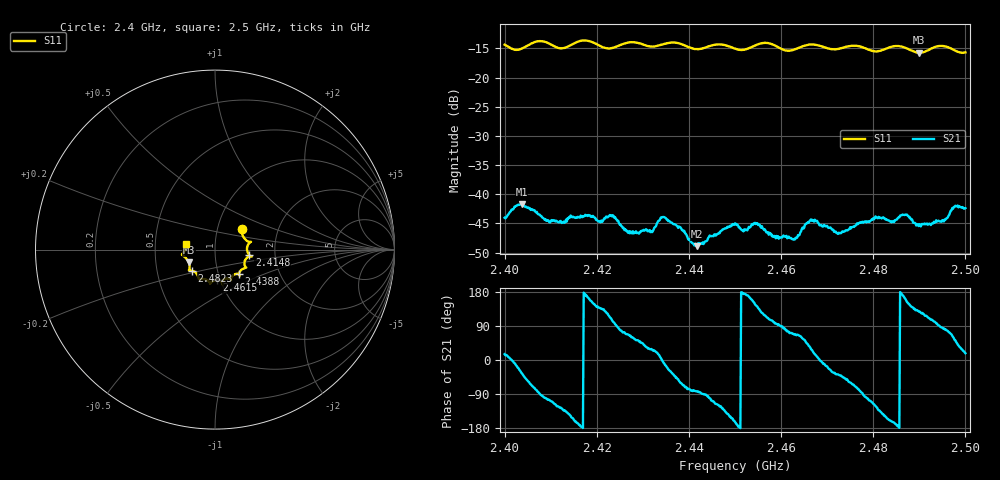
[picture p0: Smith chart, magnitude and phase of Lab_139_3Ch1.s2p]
# Hz S RI R 50
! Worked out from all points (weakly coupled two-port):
!   601 points, 2.4 GHz to 2.5 GHz, reference 50 ohm
!   highest |S21| = -41.70 dB at 2.4037 GHz (marker M1); lowest = -48.9 dB at 2.4417 GHz (marker M2)
!   lowest |S11| = -15.7 dB at 2.49 GHz (marker M3), VSWR 1.39, Z = 36.8 - j5.3 ohm
!   |S11| at or under -10 dB: start of sweep to end of sweep
!   S12 and S22 are empty: the file has one direction only
!   S11 on the Smith chart (normalised r, x): 2.4 GHz: 1.31, +0.32; 2.4148 GHz: 1.47, -0.10; 2.4388 GHz: 1.25, -0.35; 2.4615 GHz: 0.97, -0.34; 2.4823 GHz: 0.75, -0.18; 2.5 GHz: 0.72, +0.04
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2.4e9  0.1515 0.1169  0.00608 0.00166  0 0  0 0
2.403667e9  0.1667 0.0593  0.0068 -0.00462  0 0  0 0
2.4095e9  0.1932 0.0386  -0.00147 -0.0058  0 0  0 0
2.414833e9  0.1914 -0.0314  -0.00578 -0.00283  0 0  0 0
2.416667e9  0.2033 -0.0396  -0.00645 -0.000408  0 0  0 0
2.423167e9  0.1642 -0.0698  -0.00211 0.00626  0 0  0 0
2.427667e9  0.1742 -0.1002  0.0023 0.004  0 0  0 0
2.433333e9  0.1359 -0.1297  0.0057 0.00157  0 0  0 0
2.438833e9  0.132 -0.137  0.00194 -0.00441  0 0  0 0
2.441667e9  0.1048 -0.1403  0.000476 -0.00356  0 0  0 0
2.45e9  0.0725 -0.1616  -0.00541 -0.00162  0 0  0 0
2.456667e9  0.0439 -0.1934  -0.00209 0.00438  0 0  0 0
2.4615e9  0.0113 -0.1693  0.00106 0.00412  0 0  0 0
2.466667e9  -0.027 -0.1904  0.00529 0.00269  0 0  0 0
2.4725e9  -0.0652 -0.1637  0.00364 -0.00296  0 0  0 0
2.482333e9  -0.1279 -0.1179  -0.00521 -0.00341  0 0  0 0
2.483333e9  -0.1376 -0.1164  -0.00551 -0.00229  0 0  0 0
2.486833e9  -0.1435 -0.1099  -0.00637 0.00191  0 0  0 0
2.49e9  -0.1473 -0.07  -0.00334 0.00444  0 0  0 0
2.494667e9  -0.1847 -0.028  0.000336 0.00585  0 0  0 0
2.497667e9  -0.171 -0.00918  0.00475 0.00624  0 0  0 0
2.5e9  -0.1617 0.0295  0.00725 0.00232  0 0  0 0
